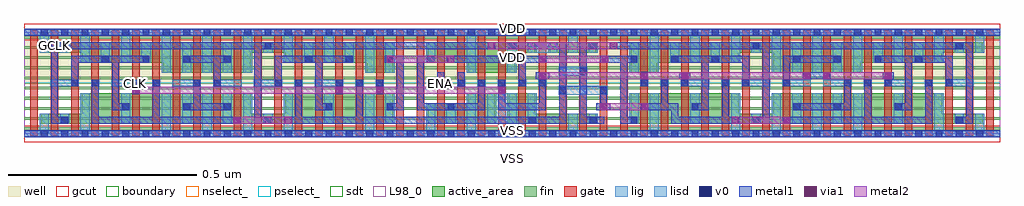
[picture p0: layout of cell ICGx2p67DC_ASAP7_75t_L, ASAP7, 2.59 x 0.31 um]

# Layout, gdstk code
import gdstk
lib = gdstk.Library(unit=1e-6, precision=2.5e-10)
def R(c, l, rs):  # rectangles x0, y0, x1, y1
    for r in rs: c.add(gdstk.rectangle(r[:2], r[2:], *l))
def A(c, l, x, y, w, h, nx, ny, dx, dy):  # array of equal rectangles
    R(c, l, [(x+i*dx, y+j*dy, x+i*dx+w, y+j*dy+h) for i in range(nx) for j in range(ny)])
def P(c, l, *ps):  # polygons
    for p in ps: c.add(gdstk.Polygon(p, *l))
well = (1, 0)
fin = (2, 0)
gate = (7, 0)
gcut = (10, 0)
active_area = (11, 0)
nselect_ = (12, 0)
pselect_ = (13, 0)
lig = (16, 0)
lisd = (17, 0)
v0 = (18, 0)
metal1 = (19, 0)
metal2 = (20, 0)
via1 = (21, 0)
sdt = (88, 0)
L98_0 = (98, 0)
boundary = (100, 0)

icgx2p67dc_asap7_75t_l = lib.new_cell('ICGx2p67DC_ASAP7_75t_L')
R(icgx2p67dc_asap7_75t_l, well, [(0,0.135,2.592,0.27)])
A(icgx2p67dc_asap7_75t_l, fin, 0, 0.01, 2.592, 0.007, 1, 10, 0, 0.027)
A(icgx2p67dc_asap7_75t_l, gate, 0.017, -0.005, 0.02, 0.28, 48, 1, 0.054, 0)
R(icgx2p67dc_asap7_75t_l, gcut, [(0,-0.022,2.592,0.022), (0,0.248,2.592,0.292)])
R(icgx2p67dc_asap7_75t_l, active_area, [(1.396,0.216,1.52,0.243)])
P(icgx2p67dc_asap7_75t_l, active_area, [(0.046,0.027),(0.046,0.054),(0.154,0.054),(0.154,0.108),(0.602,0.108),(0.602,0.054),(0.694,0.054),(0.694,0.108),(0.98,0.108),(0.98,0.027)],
  [(1.072,0.027),(1.072,0.081),(1.18,0.081),(1.18,0.108),(1.25,0.108),(1.25,0.027)],
  [(1.288,0.027),(1.288,0.108),(1.358,0.108),(1.358,0.054),(1.52,0.054),(1.52,0.027)],
  [(1.612,0.027),(1.612,0.108),(1.898,0.108),(1.898,0.054),(1.99,0.054),(1.99,0.108),(2.438,0.108),(2.438,0.054),(2.546,0.054),(2.546,0.027)],
  [(0.37,0.162),(0.37,0.189),(0.154,0.189),(0.154,0.216),(0.046,0.216),(0.046,0.243),(0.98,0.243),(0.98,0.162),(0.91,0.162),(0.91,0.189),(0.694,0.189),(0.694,0.216),(0.602,0.216),(0.602,0.162)],
  [(1.18,0.162),(1.18,0.189),(1.072,0.189),(1.072,0.243),(1.358,0.243),(1.358,0.216),(1.304,0.216),(1.304,0.162)],
  [(1.612,0.162),(1.612,0.243),(2.546,0.243),(2.546,0.216),(2.438,0.216),(2.438,0.189),(2.222,0.189),(2.222,0.162),(1.99,0.162),(1.99,0.216),(1.898,0.216),(1.898,0.189),(1.682,0.189),(1.682,0.162)])
R(icgx2p67dc_asap7_75t_l, nselect_, [(0,0,2.592,0.135)])
R(icgx2p67dc_asap7_75t_l, pselect_, [(0,0.135,2.592,0.27)])
A(icgx2p67dc_asap7_75t_l, lig, 0.826, 0.126, 0.022, 0.018, 3, 1, 0.054, 0)
A(icgx2p67dc_asap7_75t_l, lig, 1.096, 0.126, 0.022, 0.018, 6, 1, 0.054, 0)
A(icgx2p67dc_asap7_75t_l, lig, 1.636, 0.126, 0.022, 0.018, 3, 1, 0.054, 0)
A(icgx2p67dc_asap7_75t_l, lig, 2.176, 0.126, 0.022, 0.018, 3, 1, 0.054, 0)
R(icgx2p67dc_asap7_75t_l, lig, [(0,-0.008,2.592,0.008), (1.474,0.107,1.496,0.125), (0.07,0.126,0.146,0.144), (0.124,0.126,0.146,0.144), (0.178,0.126,0.2,0.144), (0.286,0.126,0.308,0.144), (0.34,0.126,0.362,0.144), (0.448,0.126,0.47,0.144), (0.502,0.126,0.524,0.144), (0.61,0.126,0.686,0.144), (0.664,0.126,0.686,0.144), (0.718,0.126,0.74,0.144), (1.852,0.126,1.874,0.144), (1.906,0.126,1.928,0.144), (1.906,0.126,1.982,0.144), (2.014,0.126,2.036,0.144), (2.014,0.126,2.09,0.144), (2.392,0.126,2.414,0.144), (0.232,0.127,0.308,0.143), (0.394,0.127,0.47,0.143), (0.502,0.127,0.578,0.143), (0.772,0.127,0.848,0.143), (1.744,0.127,1.82,0.143), (2.122,0.127,2.198,0.143), (2.284,0.127,2.36,0.143), (2.446,0.127,2.522,0.145), (1.42,0.157,1.442,0.175), (0,0.262,2.592,0.278)])
A(icgx2p67dc_asap7_75t_l, lisd, 0.474, 0, 0.024, 0.108, 3, 1, 0.108, 0)
A(icgx2p67dc_asap7_75t_l, lisd, 0.96, 0.162, 0.024, 0.081, 3, 1, 0.324, 0)
R(icgx2p67dc_asap7_75t_l, lisd, [(0.042,0,0.066,0.054), (0.15,0,0.174,0.108), (0.15,0,0.174,0.108), (0.366,0,0.39,0.108), (0.366,0,0.39,0.108), (0.474,0,0.498,0.108), (0.69,0,0.714,0.108), (0.906,0,0.93,0.108), (0.906,0,0.93,0.108), (1.068,0,1.092,0.081), (1.068,0,1.092,0.081), (1.176,0,1.2,0.108), (1.176,0,1.2,0.108), (1.446,0,1.47,0.054), (1.662,0,1.686,0.108), (1.662,0,1.686,0.108), (1.878,0,1.902,0.108), (1.986,0,2.01,0.108), (1.986,0,2.01,0.108), (2.094,0,2.118,0.108), (2.094,0,2.118,0.108), (2.202,0,2.226,0.108), (2.202,0,2.226,0.108), (2.418,0,2.442,0.108), (2.526,0,2.55,0.054), (0.096,0.027,0.12,0.054), (0.258,0.027,0.282,0.108), (0.42,0.027,0.444,0.108), (0.528,0.027,0.552,0.108), (0.636,0.027,0.66,0.054), (0.798,0.027,0.822,0.108), (0.96,0.027,0.984,0.108), (1.122,0.027,1.146,0.081), (1.23,0.027,1.308,0.108), (1.338,0.027,1.362,0.108), (1.5,0.027,1.524,0.054), (1.608,0.027,1.632,0.108), (1.77,0.027,1.794,0.108), (1.932,0.027,1.956,0.054), (2.04,0.027,2.064,0.108), (2.148,0.027,2.172,0.108), (2.31,0.027,2.334,0.108), (2.472,0.027,2.496,0.054), (1.42,0.104,1.55,0.128), (1.42,0.154,1.496,0.178), (0.366,0.162,0.39,0.27), (0.366,0.162,0.39,0.27), (0.42,0.162,0.444,0.243), (0.474,0.162,0.498,0.27), (0.474,0.162,0.498,0.27), (0.528,0.162,0.552,0.243), (0.582,0.162,0.606,0.27), (0.906,0.162,0.93,0.27), (0.906,0.162,0.93,0.27), (1.176,0.162,1.2,0.27), (1.176,0.162,1.2,0.27), (1.662,0.162,1.686,0.27), (1.662,0.162,1.686,0.27), (1.986,0.162,2.01,0.27), (1.986,0.162,2.01,0.27), (2.04,0.162,2.064,0.243), (2.094,0.162,2.118,0.27), (2.094,0.162,2.118,0.27), (2.148,0.162,2.172,0.243), (2.202,0.162,2.226,0.27), (2.202,0.162,2.226,0.27), (0.15,0.189,0.174,0.27), (0.15,0.189,0.174,0.27), (0.204,0.189,0.228,0.243), (0.258,0.189,0.282,0.27), (0.258,0.189,0.282,0.27), (0.312,0.189,0.336,0.243), (0.69,0.189,0.714,0.27), (0.69,0.189,0.714,0.27), (0.744,0.189,0.768,0.243), (0.798,0.189,0.822,0.27), (0.798,0.189,0.822,0.27), (0.852,0.189,0.876,0.243), (1.068,0.189,1.092,0.243), (1.716,0.189,1.74,0.243), (1.77,0.189,1.794,0.27), (1.77,0.189,1.794,0.27), (1.824,0.189,1.848,0.243), (1.878,0.189,1.902,0.27), (2.256,0.189,2.28,0.243), (2.31,0.189,2.334,0.27), (2.31,0.189,2.334,0.27), (2.364,0.189,2.388,0.243), (2.418,0.189,2.442,0.27), (0.042,0.216,0.066,0.27), (0.096,0.216,0.12,0.243), (0.636,0.216,0.66,0.243), (1.338,0.216,1.416,0.243), (1.446,0.216,1.47,0.27), (1.5,0.216,1.524,0.243), (1.932,0.216,1.956,0.243), (2.472,0.216,2.496,0.243), (2.526,0.216,2.55,0.27)])
A(icgx2p67dc_asap7_75t_l, v0, 0.045, -0.009, 0.018, 0.018, 47, 2, 0.054, 0.27)
A(icgx2p67dc_asap7_75t_l, v0, 0.801, 0.063, 0.018, 0.018, 3, 1, 0.162, 0)
A(icgx2p67dc_asap7_75t_l, v0, 0.828, 0.126, 0.018, 0.018, 3, 1, 0.054, 0)
A(icgx2p67dc_asap7_75t_l, v0, 1.098, 0.126, 0.018, 0.018, 6, 1, 0.054, 0)
A(icgx2p67dc_asap7_75t_l, v0, 1.638, 0.126, 0.018, 0.018, 3, 1, 0.054, 0)
A(icgx2p67dc_asap7_75t_l, v0, 2.178, 0.126, 0.018, 0.018, 3, 1, 0.054, 0)
A(icgx2p67dc_asap7_75t_l, v0, 0.207, 0.189, 0.018, 0.018, 4, 1, 0.108, 0)
A(icgx2p67dc_asap7_75t_l, v0, 0.747, 0.189, 0.018, 0.018, 4, 1, 0.108, 0)
A(icgx2p67dc_asap7_75t_l, v0, 1.611, 0.189, 0.018, 0.018, 3, 1, 0.108, 0)
A(icgx2p67dc_asap7_75t_l, v0, 2.043, 0.189, 0.018, 0.018, 4, 1, 0.108, 0)
R(icgx2p67dc_asap7_75t_l, v0, [(0.099,0.027,0.117,0.045), (0.639,0.027,0.657,0.045), (1.341,0.027,1.359,0.045), (1.503,0.027,1.521,0.045), (1.611,0.027,1.629,0.045), (1.935,0.027,1.953,0.045), (2.475,0.027,2.493,0.045), (0.261,0.063,0.279,0.081), (0.423,0.063,0.441,0.081), (0.531,0.063,0.549,0.081), (1.773,0.063,1.791,0.081), (2.043,0.063,2.061,0.081), (2.151,0.063,2.169,0.081), (2.313,0.063,2.331,0.081), (1.422,0.107,1.44,0.125), (1.53,0.107,1.548,0.125), (0.126,0.126,0.144,0.144), (0.18,0.126,0.198,0.144), (0.288,0.126,0.306,0.144), (0.342,0.126,0.36,0.144), (0.45,0.126,0.468,0.144), (0.504,0.126,0.522,0.144), (0.666,0.126,0.684,0.144), (0.72,0.126,0.738,0.144), (1.854,0.126,1.872,0.144), (1.908,0.126,1.926,0.144), (2.016,0.126,2.034,0.144), (2.394,0.126,2.412,0.144), (2.448,0.127,2.466,0.145), (1.476,0.157,1.494,0.175), (0.099,0.225,0.117,0.243), (0.639,0.225,0.657,0.243), (1.287,0.225,1.305,0.243), (1.503,0.225,1.521,0.243), (1.935,0.225,1.953,0.243), (2.475,0.225,2.493,0.243)])
A(icgx2p67dc_asap7_75t_l, metal1, 1.341, 0.027, 0.018, 0.018, 3, 1, 0.27, 0)
A(icgx2p67dc_asap7_75t_l, metal1, 0.801, 0.063, 0.018, 0.018, 3, 1, 0.162, 0)
A(icgx2p67dc_asap7_75t_l, metal1, 0.828, 0.126, 0.018, 0.018, 3, 1, 0.054, 0)
A(icgx2p67dc_asap7_75t_l, metal1, 1.098, 0.126, 0.018, 0.018, 6, 1, 0.054, 0)
A(icgx2p67dc_asap7_75t_l, metal1, 1.638, 0.126, 0.018, 0.018, 3, 1, 0.054, 0)
A(icgx2p67dc_asap7_75t_l, metal1, 2.178, 0.126, 0.018, 0.018, 3, 1, 0.054, 0)
A(icgx2p67dc_asap7_75t_l, metal1, 0.207, 0.189, 0.018, 0.018, 4, 1, 0.108, 0)
A(icgx2p67dc_asap7_75t_l, metal1, 0.747, 0.189, 0.018, 0.018, 4, 1, 0.108, 0)
A(icgx2p67dc_asap7_75t_l, metal1, 1.611, 0.189, 0.018, 0.018, 3, 1, 0.108, 0)
A(icgx2p67dc_asap7_75t_l, metal1, 2.043, 0.189, 0.018, 0.018, 4, 1, 0.108, 0)
R(icgx2p67dc_asap7_75t_l, metal1, [(0,-0.009,2.592,0.009), (0.099,0.027,0.117,0.045), (0.558,0.027,0.576,0.045), (0.639,0.027,0.657,0.045), (0.691,0.027,0.713,0.045), (1.503,0.027,1.541,0.045), (1.935,0.027,1.953,0.045), (2.014,0.027,2.036,0.045), (2.475,0.027,2.493,0.045), (0.261,0.063,0.279,0.081), (0.423,0.063,0.441,0.081), (0.531,0.063,0.549,0.081), (1.52,0.063,1.557,0.081), (1.53,0.063,1.548,0.125), (1.773,0.063,1.791,0.081), (2.043,0.063,2.061,0.081), (2.151,0.063,2.169,0.081), (2.313,0.063,2.331,0.081), (0.288,0.105,0.306,0.125), (0.828,0.105,0.846,0.125), (0.936,0.105,0.954,0.125), (0.288,0.107,0.306,0.144), (0.828,0.107,0.846,0.144), (0.936,0.107,0.954,0.144), (1.26,0.107,1.278,0.125), (1.422,0.107,1.44,0.125), (1.53,0.107,1.548,0.125), (0.126,0.126,0.144,0.144), (0.18,0.126,0.198,0.144), (0.288,0.126,0.306,0.144), (0.342,0.126,0.36,0.144), (0.45,0.126,0.468,0.144), (0.504,0.126,0.522,0.144), (0.666,0.126,0.684,0.144), (0.72,0.126,0.738,0.144), (1.098,0.126,1.116,0.163), (1.152,0.126,1.17,0.163), (1.638,0.126,1.656,0.163), (1.746,0.126,1.764,0.163), (1.854,0.126,1.872,0.144), (1.908,0.126,1.926,0.144), (2.016,0.126,2.034,0.144), (2.286,0.126,2.304,0.163), (2.394,0.126,2.412,0.144), (2.448,0.127,2.466,0.145), (1.359,0.145,1.395,0.163), (1.638,0.145,1.656,0.165), (1.74,0.145,1.77,0.163), (2.068,0.145,2.09,0.163), (2.07,0.145,2.142,0.163), (2.124,0.145,2.142,0.163), (2.28,0.145,2.31,0.163), (1.476,0.157,1.494,0.175), (1.123,0.189,1.145,0.207), (1.368,0.189,1.388,0.207), (0.099,0.225,0.117,0.243), (0.639,0.225,0.657,0.243), (1.233,0.225,1.251,0.243), (1.287,0.225,1.305,0.243), (1.503,0.225,1.521,0.243), (1.555,0.225,1.577,0.243), (1.935,0.225,1.953,0.243), (2.475,0.225,2.493,0.243), (0,0.261,2.592,0.279)])
P(icgx2p67dc_asap7_75t_l, metal1, [(2.313,0.063),(2.313,0.081),(2.34,0.081),(2.34,0.189),(2.259,0.189),(2.259,0.207),(2.466,0.207),(2.466,0.127),(2.448,0.127),(2.448,0.189),(2.358,0.189),(2.358,0.063)],
  [(0.234,0.063),(0.234,0.189),(0.144,0.189),(0.144,0.126),(0.126,0.126),(0.126,0.207),(0.333,0.207),(0.333,0.189),(0.252,0.189),(0.252,0.081),(0.279,0.081),(0.279,0.063)],
  [(0.774,0.063),(0.774,0.189),(0.684,0.189),(0.684,0.126),(0.666,0.126),(0.666,0.207),(0.873,0.207),(0.873,0.189),(0.792,0.189),(0.792,0.081),(0.819,0.081),(0.819,0.063)],
  [(1.773,0.063),(1.773,0.081),(1.8,0.081),(1.8,0.189),(1.719,0.189),(1.719,0.207),(1.926,0.207),(1.926,0.126),(1.908,0.126),(1.908,0.189),(1.818,0.189),(1.818,0.063)],
  [(0.958,0.189),(0.958,0.194),(0.958,0.207),(0.983,0.207),(0.983,0.189)],
  [(0.423,0.063),(0.423,0.081),(0.45,0.081),(0.45,0.144),(0.468,0.144),(0.468,0.081),(0.549,0.081),(0.549,0.063)],
  [(0.504,0.126),(0.504,0.189),(0.423,0.189),(0.423,0.207),(0.549,0.207),(0.549,0.189),(0.522,0.189),(0.522,0.126)],
  [(1.044,0.063),(1.044,0.207),(1.089,0.207),(1.089,0.189),(1.062,0.189),(1.062,0.081),(1.206,0.081),(1.206,0.144),(1.224,0.144),(1.224,0.063)],
  [(1.476,0.027),(1.476,0.243),(1.521,0.243),(1.521,0.225),(1.494,0.225),(1.494,0.045),(1.521,0.045),(1.521,0.027)],
  [(1.584,0.027),(1.584,0.189),(1.53,0.189),(1.53,0.207),(1.629,0.207),(1.629,0.189),(1.602,0.189),(1.602,0.045),(1.629,0.045),(1.629,0.027)],
  [(1.314,0.126),(1.314,0.189),(1.125,0.189),(1.125,0.207),(1.386,0.207),(1.386,0.189),(1.332,0.189),(1.332,0.126)],
  [(0.963,0.063),(0.963,0.081),(0.99,0.081),(0.99,0.189),(0.963,0.189),(0.963,0.207),(1.008,0.207),(1.008,0.063)],
  [(2.016,0.126),(2.016,0.207),(2.169,0.207),(2.169,0.189),(2.034,0.189),(2.034,0.126)],
  [(2.043,0.063),(2.043,0.081),(2.178,0.081),(2.178,0.144),(2.196,0.144),(2.196,0.063)],
  [(0.072,0.027),(0.072,0.243),(1.251,0.243),(1.251,0.225),(0.63,0.225),(0.63,0.045),(0.657,0.045),(0.657,0.027),(0.612,0.027),(0.612,0.225),(0.09,0.225),(0.09,0.045),(0.117,0.045),(0.117,0.027)],
  [(1.935,0.027),(1.935,0.045),(1.962,0.045),(1.962,0.225),(1.557,0.225),(1.557,0.243),(2.52,0.243),(2.52,0.027),(2.475,0.027),(2.475,0.045),(2.502,0.045),(2.502,0.225),(1.98,0.225),(1.98,0.027)],
  [(0.693,0.027),(0.693,0.045),(0.72,0.045),(0.72,0.144),(0.738,0.144),(0.738,0.045),(0.882,0.045),(0.882,0.144),(0.9,0.144),(0.9,0.045),(1.422,0.045),(1.422,0.225),(1.287,0.225),(1.287,0.243),(1.44,0.243),(1.44,0.027)],
  [(2.016,0.027),(2.016,0.045),(2.232,0.045),(2.232,0.144),(2.25,0.144),(2.25,0.045),(2.394,0.045),(2.394,0.144),(2.412,0.144),(2.412,0.027)],
  [(0.18,0.027),(0.18,0.144),(0.198,0.144),(0.198,0.045),(0.342,0.045),(0.342,0.144),(0.36,0.144),(0.36,0.045),(0.576,0.045),(0.576,0.027)],
  [(1.719,0.027),(1.719,0.063),(1.638,0.063),(1.638,0.081),(1.692,0.081),(1.692,0.144),(1.71,0.144),(1.71,0.081),(1.737,0.081),(1.737,0.045),(1.854,0.045),(1.854,0.144),(1.872,0.144),(1.872,0.045),(1.899,0.045),(1.899,0.027)],
  [(1.26,0.063),(1.26,0.144),(1.278,0.144),(1.278,0.081),(1.368,0.081),(1.368,0.163),(1.386,0.163),(1.386,0.063)])
R(icgx2p67dc_asap7_75t_l, metal2, [(0.556,0.027,0.711,0.045), (1.879,0.027,2.034,0.045), (1.53,0.063,1.658,0.081), (0.288,0.107,1.278,0.125), (1.368,0.145,2.088,0.163), (2.122,0.145,2.304,0.163), (0.963,0.189,1.143,0.207), (1.368,0.189,1.552,0.207), (1.231,0.225,1.575,0.243)])
R(icgx2p67dc_asap7_75t_l, via1, [(0.556,0.027,0.574,0.045), (0.693,0.027,0.711,0.045), (1.879,0.027,1.897,0.045), (2.016,0.027,2.034,0.045), (1.53,0.063,1.548,0.081), (1.64,0.063,1.658,0.081), (0.288,0.107,0.306,0.125), (0.828,0.107,0.846,0.125), (0.936,0.107,0.954,0.125), (1.26,0.107,1.278,0.125), (1.368,0.145,1.386,0.163), (1.638,0.145,1.656,0.163), (1.746,0.145,1.764,0.163), (2.07,0.145,2.088,0.163), (2.122,0.145,2.14,0.163), (2.286,0.145,2.304,0.163), (0.963,0.189,0.981,0.207), (1.125,0.189,1.143,0.207), (1.368,0.189,1.386,0.207), (1.534,0.189,1.552,0.207), (1.231,0.225,1.249,0.243), (1.557,0.225,1.575,0.243)])
A(icgx2p67dc_asap7_75t_l, sdt, 0.15, 0.027, 0.024, 0.081, 3, 1, 0.108, 0)
A(icgx2p67dc_asap7_75t_l, sdt, 0.366, 0.027, 0.024, 0.081, 3, 2, 0.054, 0.135)
A(icgx2p67dc_asap7_75t_l, sdt, 0.474, 0.027, 0.024, 0.081, 3, 2, 0.054, 0.135)
A(icgx2p67dc_asap7_75t_l, sdt, 0.69, 0.027, 0.024, 0.081, 3, 1, 0.108, 0)
A(icgx2p67dc_asap7_75t_l, sdt, 1.176, 0.027, 0.024, 0.081, 4, 1, 0.054, 0)
A(icgx2p67dc_asap7_75t_l, sdt, 1.662, 0.027, 0.024, 0.081, 4, 1, 0.108, 0)
A(icgx2p67dc_asap7_75t_l, sdt, 1.986, 0.027, 0.024, 0.081, 3, 2, 0.054, 0.135)
A(icgx2p67dc_asap7_75t_l, sdt, 2.094, 0.027, 0.024, 0.081, 3, 2, 0.054, 0.135)
A(icgx2p67dc_asap7_75t_l, sdt, 2.202, 0.027, 0.024, 0.081, 3, 1, 0.108, 0)
A(icgx2p67dc_asap7_75t_l, sdt, 0.15, 0.189, 0.024, 0.054, 3, 1, 0.054, 0)
A(icgx2p67dc_asap7_75t_l, sdt, 0.69, 0.189, 0.024, 0.054, 3, 1, 0.054, 0)
A(icgx2p67dc_asap7_75t_l, sdt, 1.77, 0.189, 0.024, 0.054, 3, 1, 0.054, 0)
A(icgx2p67dc_asap7_75t_l, sdt, 2.31, 0.189, 0.024, 0.054, 3, 1, 0.054, 0)
A(icgx2p67dc_asap7_75t_l, sdt, 1.338, 0.216, 0.024, 0.027, 4, 1, 0.054, 0)
R(icgx2p67dc_asap7_75t_l, sdt, [(0.042,0.027,0.066,0.054), (0.096,0.027,0.12,0.054), (0.15,0.027,0.174,0.108), (0.636,0.027,0.66,0.054), (0.69,0.027,0.714,0.108), (0.906,0.027,0.93,0.108), (0.96,0.027,0.984,0.108), (1.068,0.027,1.092,0.081), (1.068,0.027,1.092,0.081), (1.122,0.027,1.146,0.081), (1.176,0.027,1.2,0.108), (1.446,0.027,1.47,0.054), (1.5,0.027,1.524,0.054), (1.608,0.027,1.632,0.108), (1.662,0.027,1.686,0.108), (1.932,0.027,1.956,0.054), (2.472,0.027,2.496,0.054), (2.526,0.027,2.55,0.054), (0.366,0.162,0.39,0.243), (0.906,0.162,0.93,0.243), (0.906,0.162,0.93,0.243), (0.96,0.162,0.984,0.243), (1.176,0.162,1.2,0.243), (1.176,0.162,1.2,0.243), (1.284,0.162,1.308,0.243), (1.608,0.162,1.632,0.243), (1.662,0.162,1.686,0.243), (1.662,0.162,1.686,0.243), (1.986,0.162,2.01,0.243), (2.202,0.162,2.226,0.243), (0.15,0.189,0.174,0.243), (0.258,0.189,0.282,0.243), (0.312,0.189,0.336,0.243), (0.69,0.189,0.714,0.243), (0.798,0.189,0.822,0.243), (0.852,0.189,0.876,0.243), (1.068,0.189,1.092,0.243), (1.716,0.189,1.74,0.243), (1.77,0.189,1.794,0.243), (2.256,0.189,2.28,0.243), (2.31,0.189,2.334,0.243), (0.042,0.216,0.066,0.243), (0.096,0.216,0.12,0.243), (0.636,0.216,0.66,0.243), (1.932,0.216,1.956,0.243), (2.472,0.216,2.496,0.243), (2.526,0.216,2.55,0.243)])
R(icgx2p67dc_asap7_75t_l, L98_0, [(0,0,2.592,0.27)])
R(icgx2p67dc_asap7_75t_l, boundary, [(0,0,2.592,0.27)])
icgx2p67dc_asap7_75t_l.add(gdstk.Label('VDD', (1.296,0.2025), layer=1, texttype=251))
icgx2p67dc_asap7_75t_l.add(gdstk.Label('VSS', (1.296,-0.0675), layer=3, texttype=251))
icgx2p67dc_asap7_75t_l.add(gdstk.Label('VSS', (1.296,0.009), layer=19, texttype=251))
icgx2p67dc_asap7_75t_l.add(gdstk.Label('VDD', (1.296,0.279), layer=19, texttype=251))
icgx2p67dc_asap7_75t_l.add(gdstk.Label('ENA', (1.107,0.135), layer=19, texttype=251))
icgx2p67dc_asap7_75t_l.add(gdstk.Label('SE', (1.161,0.135), layer=19, texttype=251))
icgx2p67dc_asap7_75t_l.add(gdstk.Label('GCLK', (0.081,0.234), layer=19, texttype=251))
icgx2p67dc_asap7_75t_l.add(gdstk.Label('CLK', (0.297,0.135), layer=19, texttype=251))

lib.write_gds('ICGx2p67DC_ASAP7_75t_L.gds')
